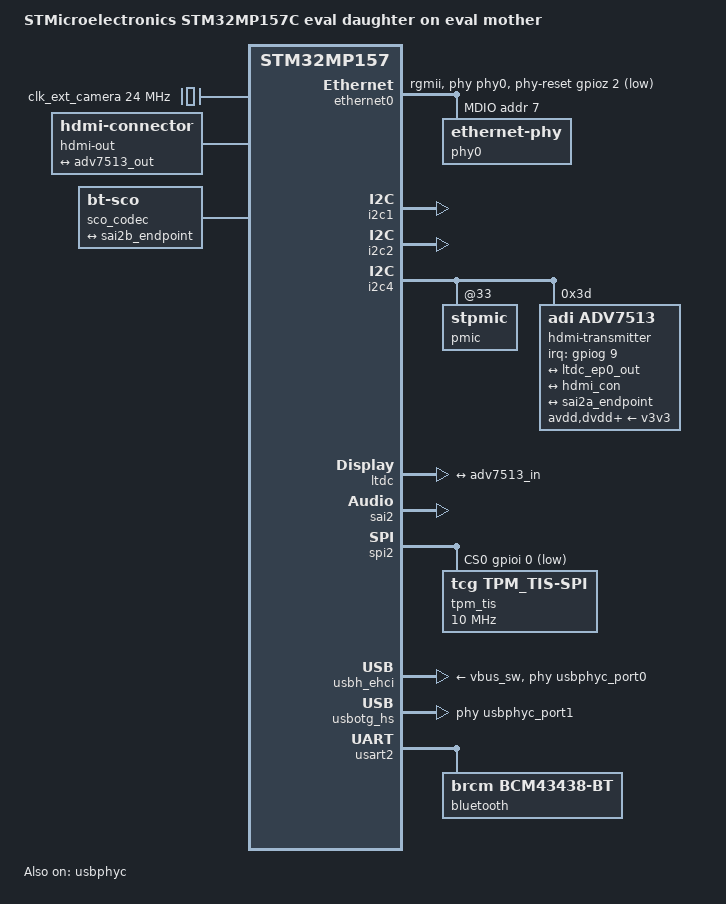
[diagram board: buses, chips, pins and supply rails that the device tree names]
// SPDX-License-Identifier: (GPL-2.0+ OR BSD-3-Clause)
/*
 * Copyright (C) STMicroelectronics 2017 - All Rights Reserved
 * Author: Ludovic Barre <ludovic.barre@st.com> for STMicroelectronics.
 */
/dts-v1/;

#include "stm32mp157a-av96.dtsi"
#include <dt-bindings/input/input.h>
#include <dt-bindings/gpio/gpio.h>
#include <dt-bindings/soc/stm32-hdp.h>

/ {
	model = "STMicroelectronics STM32MP157C eval daughter on eval mother";
	compatible = "st,stm32mp157c-ev1", "st,stm32mp157c-ed1", "st,stm32mp157";

	chosen {
		stdout-path = "serial0:115200n8";
	};

	aliases {
		serial1 = &usart2;
		ethernet0 = &ethernet0;
	};

	clocks {
		clk_ext_camera: clk-ext-camera {
			#clock-cells = <0>;
			compatible = "fixed-clock";
			clock-frequency = <24000000>;
		};
	};

#if 0
	joystick {
		compatible = "gpio-keys";
		#size-cells = <0>;
		pinctrl-0 = <&joystick_pins>;
		pinctrl-names = "default";
		button-0 {
			label = "JoySel";
			linux,code = <KEY_ENTER>;
			interrupt-parent = <&stmfx_pinctrl>;
			interrupts = <0 IRQ_TYPE_EDGE_RISING>;
		};
		button-1 {
			label = "JoyDown";
			linux,code = <KEY_DOWN>;
			interrupt-parent = <&stmfx_pinctrl>;
			interrupts = <1 IRQ_TYPE_EDGE_RISING>;
		};
		button-2 {
			label = "JoyLeft";
			linux,code = <KEY_LEFT>;
			interrupt-parent = <&stmfx_pinctrl>;
			interrupts = <2 IRQ_TYPE_EDGE_RISING>;
		};
		button-3 {
			label = "JoyRight";
			linux,code = <KEY_RIGHT>;
			interrupt-parent = <&stmfx_pinctrl>;
			interrupts = <3 IRQ_TYPE_EDGE_RISING>;
		};
		button-4 {
			label = "JoyUp";
			linux,code = <KEY_UP>;
			interrupt-parent = <&stmfx_pinctrl>;
			interrupts = <4 IRQ_TYPE_EDGE_RISING>;
		};
	};

	panel_backlight: panel-backlight {
		compatible = "gpio-backlight";
		gpios = <&gpiod 13 GPIO_ACTIVE_LOW>;
		default-on;
		status = "okay";
	};

	spdif_out: spdif-out {
		#sound-dai-cells = <0>;
		compatible = "linux,spdif-dit";
		status = "okay";

		spdif_out_port: port {
			spdif_out_endpoint: endpoint {
				remote-endpoint = <&sai4a_endpoint>;
			};
		};
	};

	spdif_in: spdif-in {
		#sound-dai-cells = <0>;
		compatible = "linux,spdif-dir";
		status = "okay";

		spdif_in_port: port {
			spdif_in_endpoint: endpoint {
				remote-endpoint = <&spdifrx_endpoint>;
			};
		};
	};

	sound {
		compatible = "audio-graph-card";
		label = "STM32MP1-EV";
		routing =
			"AIF1CLK" , "MCLK1",
			"AIF2CLK" , "MCLK1",
			"IN1LN" , "MICBIAS2",
			"DMIC2DAT" , "MICBIAS1",
			"DMIC1DAT" , "MICBIAS1";
		dais = <&sai2a_port &sai2b_port &sai4a_port &spdifrx_port
			&dfsdm0_port &dfsdm1_port &dfsdm2_port &dfsdm3_port>;
		status = "okay";
	};

	dmic0: dmic-0 {
		compatible = "dmic-codec";
		#sound-dai-cells = <1>;
		status = "okay";

		port {
			dmic0_endpoint: endpoint {
				remote-endpoint = <&dfsdm_endpoint0>;
			};
		};
	};

	dmic1: dmic-1 {
		compatible = "dmic-codec";
		#sound-dai-cells = <1>;
		status = "okay";

		port {
			dmic1_endpoint: endpoint {
				remote-endpoint = <&dfsdm_endpoint1>;
			};
		};
	};

	dmic2: dmic-2 {
		compatible = "dmic-codec";
		#sound-dai-cells = <1>;
		status = "okay";

		port {
			dmic2_endpoint: endpoint {
				remote-endpoint = <&dfsdm_endpoint2>;
			};
		};
	};

	dmic3: dmic-3 {
		compatible = "dmic-codec";
		#sound-dai-cells = <1>;
		status = "okay";

		port {
			dmic3_endpoint: endpoint {
				remote-endpoint = <&dfsdm_endpoint3>;
			};
		};
	};
#endif

	hdmi-out {
		compatible = "hdmi-connector";
		type = "a";

		port {
			hdmi_con: endpoint {
				remote-endpoint = <&adv7513_out>;
			};
		};
	};

	sco_codec: bt_sco {
		compatible = "linux,bt-sco";
		status = "okay";

		ports {
			#address-cells = <1>;
			#size-cells = <0>;
#if 0
			bt_tx_port: port@0 {
				bt_tx_endpoint: endpoint {
					remote-endpoint = <&sai2a_endpoint>;
					dai-format = "i2s";
				};
			};
#endif
			bt_rx_port: port@1 {
				bt_rx_endpoint: endpoint {
					remote-endpoint = <&sai2b_endpoint>;
					dai-format = "i2s";
				};
			};
		};
	};

	sound {
		compatible = "audio-graph-card";
		label = "STM32MP1-AV96";
		routing =
			"Playback" , "MCLK",
			"Capture" , "MCLK",
			"MICL" , "Mic Bias";
		dais = <&sai2a_port &sai2b_port>;
		status = "okay";
	};

	usb_phy_tuning: usb-phy-tuning {
		st,hs-dc-level = <2>;
		st,fs-rftime-tuning;
		st,hs-rftime-reduction;
		st,hs-current-trim = <15>;
		st,hs-impedance-trim = <1>;
		st,squelch-level = <3>;
		st,hs-rx-offset = <2>;
		st,no-lsfs-sc;
	};
};

#if 0
&cec {
	pinctrl-names = "default", "sleep";
	pinctrl-0 = <&cec_pins_a>;
	pinctrl-1 = <&cec_pins_sleep_a>;
};

&dcmi {
	status = "okay";
	pinctrl-names = "default", "sleep";
	pinctrl-0 = <&dcmi_pins_a>;
	pinctrl-1 = <&dcmi_sleep_pins_a>;

	port {
		dcmi_0: endpoint {
			remote-endpoint = <&ov5640_0>;
			bus-width = <8>;
			hsync-active = <0>;
			vsync-active = <0>;
			pclk-sample = <1>;
			pclk-max-frequency = <77000000>;
		};
	};
};

&dfsdm {
	pinctrl-names = "default", "sleep";
	pinctrl-0 = <&dfsdm_clkout_pins_a
		     &dfsdm_data1_pins_a &dfsdm_data3_pins_a>;
	pinctrl-1 = <&dfsdm_clkout_sleep_pins_a
		     &dfsdm_data1_sleep_pins_a &dfsdm_data3_sleep_pins_a>;
	spi-max-frequency = <2048000>;

	clocks = <&rcc DFSDM_K>, <&rcc ADFSDM_K>;
	clock-names = "dfsdm", "audio";
	status = "okay";

	dfsdm0: filter@0 {
		compatible = "st,stm32-dfsdm-dmic";
		st,adc-channels = <3>;
		st,adc-channel-names = "dmic_u1";
		st,adc-channel-types = "SPI_R";
		st,adc-channel-clk-src = "CLKOUT";
		st,filter-order = <3>;
		status = "okay";

		asoc_pdm0: dfsdm-dai {
			compatible = "st,stm32h7-dfsdm-dai";
			#sound-dai-cells = <0>;
			io-channels = <&dfsdm0 0>;
			status = "okay";

			dfsdm0_port: port {
				dfsdm_endpoint0: endpoint {
					remote-endpoint = <&dmic0_endpoint>;
				};
			};
		};
	};

	dfsdm1: filter@1 {
		compatible = "st,stm32-dfsdm-dmic";
		st,adc-channels = <1>;
		st,adc-channel-names = "dmic_u2";
		st,adc-channel-types = "SPI_F";
		st,adc-channel-clk-src = "CLKOUT";
		st,filter-order = <3>;
		status = "okay";

		asoc_pdm1: dfsdm-dai {
			compatible = "st,stm32h7-dfsdm-dai";
			#sound-dai-cells = <0>;
			io-channels = <&dfsdm1 0>;
			status = "okay";

			dfsdm1_port: port {
				dfsdm_endpoint1: endpoint {
					remote-endpoint = <&dmic1_endpoint>;
				};
			};
		};
	};

	dfsdm2: filter@2 {
		compatible = "st,stm32-dfsdm-dmic";
		st,adc-channels = <3>;
		st,adc-channel-names = "dmic_u3";
		st,adc-channel-types = "SPI_F";
		st,adc-channel-clk-src = "CLKOUT";
		st,filter-order = <3>;
		status = "okay";

		asoc_pdm2: dfsdm-dai {
			compatible = "st,stm32h7-dfsdm-dai";
			#sound-dai-cells = <0>;
			io-channels = <&dfsdm2 0>;
			status = "okay";

			dfsdm2_port: port {
				dfsdm_endpoint2: endpoint {
					remote-endpoint = <&dmic2_endpoint>;
				};
			};
		};
	};

	dfsdm3: filter@3 {
		compatible = "st,stm32-dfsdm-dmic";
		st,adc-channels = <1>;
		st,adc-channel-names = "dmic_u4";
		st,adc-channel-types = "SPI_R";
		st,adc-channel-clk-src = "CLKOUT";
		st,filter-order = <3>;
		status = "okay";

		asoc_pdm3: dfsdm-dai {
			compatible = "st,stm32h7-dfsdm-dai";
			#sound-dai-cells = <0>;
			io-channels = <&dfsdm3 0>;
			status = "okay";

			dfsdm3_port: port {
				dfsdm_endpoint3: endpoint {
					remote-endpoint = <&dmic3_endpoint>;
				};
			};
		};
	};
};

&dsi {
	#address-cells = <1>;
	#size-cells = <0>;
	status = "okay";

	ports {
		#address-cells = <1>;
		#size-cells = <0>;

		port@0 {
			reg = <0>;
			dsi_in: endpoint {
				remote-endpoint = <&ltdc_ep0_out>;
			};
		};

		port@1 {
			reg = <1>;
			dsi_out: endpoint {
				remote-endpoint = <&dsi_panel_in>;
			};
		};
	};

	panel-dsi@0 {
		compatible = "raydium,rm68200";
		reg = <0>;
		reset-gpios = <&gpiof 15 GPIO_ACTIVE_LOW>;
		power-supply = <&v1v8>;
		backlight = <&panel_backlight>;
		status = "okay";

		port {
			dsi_panel_in: endpoint {
				remote-endpoint = <&dsi_out>;
			};
		};
	};
};
#endif

&ethernet0 {
	status = "okay";
	pinctrl-0 = <&ethernet0_rgmii_pins_a>;
	pinctrl-1 = <&ethernet0_rgmii_pins_sleep_a>;
	pinctrl-names = "default", "sleep";
	phy-mode = "rgmii";
	max-speed = <1000>;
	phy-handle = <&phy0>;

	phy-reset-gpios = <&gpioz 2 GPIO_ACTIVE_LOW>;

	mdio0 {
		#address-cells = <1>;
		#size-cells = <0>;
		compatible = "snps,dwmac-mdio";
		phy0: ethernet-phy@7 {
			reg = <7>;

			rxc-skew-ps = <1500>;
			rxdv-skew-ps = <540>;
			rxd0-skew-ps = <420>;
			rxd1-skew-ps = <420>;
			rxd2-skew-ps = <420>;
			rxd3-skew-ps = <420>;

			txc-skew-ps = <1440>;
			txen-skew-ps = <540>;
			txd0-skew-ps = <420>;
			txd1-skew-ps = <420>;
			txd2-skew-ps = <420>;
			txd3-skew-ps = <420>;
		};
	};
};

#if 0
&fmc {
	pinctrl-names = "default", "sleep";
	pinctrl-0 = <&fmc_pins_a>;
	pinctrl-1 = <&fmc_sleep_pins_a>;
	status = "okay";
	#address-cells = <1>;
	#size-cells = <0>;

	nand: nand@0 {
		reg = <0>;
		nand-on-flash-bbt;
		#address-cells = <1>;
		#size-cells = <1>;
	};
};

&hdp {
	pinctrl-names = "default", "sleep";
	pinctrl-0 = <&hdp0_pins_a &hdp6_pins_a &hdp7_pins_a>;
	pinctrl-1 = <&hdp0_pins_sleep_a &hdp6_pins_sleep_a &hdp7_pins_sleep_a>;
	status = "disabled";

	muxing-hdp = <(STM32_HDP(0, HDP0_GPOVAL_0) |
		       STM32_HDP(6, HDP6_GPOVAL_6) |
		       STM32_HDP(7, HDP7_GPOVAL_7))>;
};
#endif

&i2c1 {
	pinctrl-names = "default", "sleep";
	pinctrl-0 = <&i2c1_pins_a>;
	pinctrl-1 = <&i2c1_pins_sleep_a>;
	i2c-scl-rising-time-ns = <185>;
	i2c-scl-falling-time-ns = <20>;
	status = "okay";
};

&i2c2 {
	pinctrl-names = "default", "sleep";
	pinctrl-0 = <&i2c2_pins_a>;
	pinctrl-1 = <&i2c2_pins_sleep_a>;
	i2c-scl-rising-time-ns = <185>;
	i2c-scl-falling-time-ns = <20>;
	status = "okay";
	/delete-property/dmas;
	/delete-property/dma-names;

#if 0
	ov5640: camera@3c {
		compatible = "ovti,ov5640";
		reg = <0x3c>;
		clocks = <&clk_ext_camera>;
		clock-names = "xclk";
		DOVDD-supply = <&v1v8>;
		status = "okay";
		powerdown-gpios = <&gpiob 5 GPIO_ACTIVE_HIGH>;
		reset-gpios = <&gpioa 12 GPIO_ACTIVE_LOW>;
		rotation = <180>;

		port {
			ov5640_0: endpoint {
				remote-endpoint = <&dcmi_0>;
				clock-lanes = <1>;
				data-lanes = <0 2>;
			};
		};
	};

	wm8994: wm8994@1b {
		compatible = "wlf,wm8994";
		#sound-dai-cells = <0>;
		reg = <0x1b>;
		status = "okay";

		gpio-controller;
		#gpio-cells = <2>;

		DBVDD-supply = <&vdd>;
		SPKVDD1-supply = <&vdd>;
		SPKVDD2-supply = <&vdd>;
		AVDD2-supply = <&v1v8>;
		CPVDD-supply = <&v1v8>;

		wlf,ldoena-always-driven;

		clocks = <&sai2a>;
		clock-names = "MCLK1";

		wlf,gpio-cfg = <0x8101 0xa100 0xa100 0xa100 0xa101 0xa101 0xa100 0xa101 0xa101 0xa101 0xa101>;

		ports {
			#address-cells = <1>;
			#size-cells = <0>;

			wm8994_tx_port: port@0 {
				reg = <0>;
				wm8994_tx_endpoint: endpoint {
					remote-endpoint = <&sai2a_endpoint>;
				};
			};

			wm8994_rx_port: port@1 {
				reg = <1>;
				wm8994_rx_endpoint: endpoint {
					remote-endpoint = <&sai2b_endpoint>;
				};
			};
		};
	};

	stmfx: stmfx@42 {
		compatible = "st,stmfx-0300";
		reg = <0x42>;
		interrupts = <8 IRQ_TYPE_EDGE_RISING>;
		interrupt-parent = <&gpioi>;
		vdd-supply = <&v3v3>;

		stmfx_pinctrl: stmfx-pin-controller {
			compatible = "st,stmfx-0300-pinctrl";
			gpio-controller;
			#gpio-cells = <2>;
			interrupt-controller;
			#interrupt-cells = <2>;
			gpio-ranges = <&stmfx_pinctrl 0 0 24>;
			pinctrl-names = "default";
			pinctrl-0 = <&hog_pins>;

			hog_pins: hog {
				pins = "gpio14";
				drive-push-pull;
				bias-pull-down;
			};

			joystick_pins: joystick {
				pins = "gpio0", "gpio1", "gpio2", "gpio3", "gpio4";
				drive-push-pull;
				bias-pull-down;
			};

			ov5640_pins: camera {
				pins = "agpio2", "agpio3"; /* stmfx pins 18 & 19 */
				drive-push-pull;
				output-low;
			};
		};
	};

	gt9147: goodix_ts@5d {
		compatible = "goodix,gt9147";
		reg = <0x5d>;
		status = "okay";

		irq-gpios = <&stmfx_pinctrl 14 GPIO_ACTIVE_HIGH>;
		irq-flags = <IRQ_TYPE_EDGE_RISING>;
	};
#endif
};

&i2c4 {
	pmic: stpmic@33 {
		regulators {
			v1v8: ldo6 {
				regulator-enable-ramp-delay = <300000>;
			};
		};
	};

	hdmi-transmitter@3d {
		compatible = "adi,adv7513";
		reg = <0x3d>;

		avdd-supply = <&v3v3>;
		dvdd-supply = <&v3v3>;
		pvdd-supply = <&v3v3>;
		dvdd-3v-supply = <&v3v3>;
		bgvdd-supply = <&v3v3>;

		interrupts = <9 IRQ_TYPE_EDGE_FALLING>;
		interrupt-parent = <&gpiog>;

		pinctrl-names = "default", "sleep";
		pinctrl-0 = <&ltdc_pins_a>;
		pinctrl-1 = <&ltdc_pins_sleep_a>;
		status = "okay";

		adi,input-depth = <8>;
		adi,input-colorspace = "rgb";
		adi,input-clock = "1x";
		adi,input-style = <1>;
		adi,input-justification = "evenly";

		ports {
			#address-cells = <1>;
			#size-cells = <0>;

			port@0 {
				reg = <0>;
				adv7513_in: endpoint {
					remote-endpoint = <&ltdc_ep0_out>;
				};
			};

			port@1 {
				reg = <1>;
				adv7513_out: endpoint {
					remote-endpoint = <&hdmi_con>;
				};
			};
#if 1
			port@2 {
				reg = <2>;
				adv7513_i2s0: endpoint {
					remote-endpoint = <&sai2a_endpoint>;
				};
			};
#endif
		};
	};
};

#if 0
&i2c5 {
	pinctrl-names = "default", "sleep";
	pinctrl-0 = <&i2c5_pins_a>;
	pinctrl-1 = <&i2c5_pins_sleep_a>;
	i2c-scl-rising-time-ns = <185>;
	i2c-scl-falling-time-ns = <20>;
	/delete-property/dmas;
	/delete-property/dma-names;
};
#endif

&ltdc {
	status = "okay";

	port {
		#address-cells = <1>;
		#size-cells = <0>;

		ltdc_ep0_out: endpoint@0 {
			reg = <0>;
			remote-endpoint = <&adv7513_in>;
		};
	};
};

#if 0
&m_can1 {
	pinctrl-names = "default", "sleep";
	pinctrl-0 = <&m_can1_pins_a>;
	pinctrl-1 = <&m_can1_sleep_pins_a>;
	status = "okay";
};
#endif

#if 0
&qspi {
	pinctrl-names = "default", "sleep";
	pinctrl-0 = <&qspi_clk_pins_a &qspi_bk1_pins_a &qspi_bk2_pins_a>;
	pinctrl-1 = <&qspi_clk_sleep_pins_a &qspi_bk1_sleep_pins_a &qspi_bk2_sleep_pins_a>;
	reg = <0x58003000 0x1000>, <0x70000000 0x4000000>;
	#address-cells = <1>;
	#size-cells = <0>;
	status = "okay";

	flash0: mx66l51235l@0 {
		compatible = "jedec,spi-nor";
		reg = <0>;
		spi-rx-bus-width = <4>;
		spi-max-frequency = <108000000>;
		#address-cells = <1>;
		#size-cells = <1>;
	};

	flash1: mx66l51235l@1 {
		compatible = "jedec,spi-nor";
		reg = <1>;
		spi-rx-bus-width = <4>;
		spi-max-frequency = <108000000>;
		#address-cells = <1>;
		#size-cells = <1>;
	};
};
#endif

&sai2 {
	clocks = <&rcc SAI2>, <&rcc PLL3_Q>, <&rcc PLL3_R>;
	pinctrl-names = "default", "sleep";
	pinctrl-0 = <&sai2a_pins_a>, <&sai2b_pins_b>;
	pinctrl-1 = <&sai2a_sleep_pins_a>, <&sai2b_sleep_pins_b>;
	clock-names = "pclk", "x8k", "x11k";
	status = "okay";

	sai2a: audio-controller@4400b004 {
		#clock-cells = <0>;
		dma-names = "tx";
		clocks = <&rcc SAI2_K>;
		clock-names = "sai_ck";
		status = "okay";

		sai2a_port: port {
			sai2a_endpoint: endpoint {
#if 0
				remote-endpoint = <&bt_tx_endpoint>;
#else
				remote-endpoint = <&adv7513_i2s0>;
#endif
				format = "i2s";
				mclk-fs = <256>;
			};
		};
	};

	sai2b: audio-controller@4400b024 {
		#clock-cells = <0>;
		dma-names = "rx";
		clocks = <&rcc SAI2_K>;
		clock-names = "sai_ck";
		status = "okay";

		sai2b_port: port {
			sai2b_endpoint: endpoint {
				remote-endpoint = <&bt_rx_endpoint>;
				format = "i2s";
				mclk-fs = <256>;
			};
		};
	};
};

#if 0
&sai4 {
	clocks = <&rcc SAI4>, <&rcc PLL3_Q>, <&rcc PLL3_R>;
	clock-names = "pclk", "x8k", "x11k";
	status = "okay";

	sai4a: audio-controller@50027004 {
		pinctrl-names = "default", "sleep";
		pinctrl-0 = <&sai4a_pins_a>;
		pinctrl-1 = <&sai4a_sleep_pins_a>;
		dma-names = "tx";
		clocks = <&rcc SAI4_K>;
		clock-names = "sai_ck";
		st,iec60958;
		status = "okay";

		sai4a_port: port {
			sai4a_endpoint: endpoint {
				remote-endpoint = <&spdif_out_endpoint>;
			};
		};
	};
};
#endif

#if 0
&sdmmc3 {
	pinctrl-names = "default", "opendrain", "sleep";
	pinctrl-0 = <&sdmmc3_b4_pins_a>;
	pinctrl-1 = <&sdmmc3_b4_od_pins_a>;
	pinctrl-2 = <&sdmmc3_b4_sleep_pins_a>;
	vmmc-supply = <&v3v3>;
	broken-cd;
	st,neg-edge;
	bus-width = <4>;
	status = "disabled";
};

&spdifrx {
	pinctrl-names = "default", "sleep";
	pinctrl-0 = <&spdifrx_pins_a>;
	pinctrl-1 = <&spdifrx_sleep_pins_a>;
	status = "okay";

	spdifrx_port: port {
		spdifrx_endpoint: endpoint {
			remote-endpoint = <&spdif_in_endpoint>;
		};
	};
};
#endif

&spi1 {
	pinctrl-names = "default", "sleep";
	pinctrl-0 = <&spi1_pins_a>;
	pinctrl-1 = <&spi1_sleep_pins_a>;
	status = "disabled";
};

&spi2 {
	pinctrl-names = "default", "sleep";
	pinctrl-0 = <&spi2_pins_a>;
	pinctrl-1 = <&spi2_sleep_pins_a>;
	status = "okay";
	cs-gpios = <&gpioi 0 GPIO_ACTIVE_LOW>;

	tpm_tis@0 {
		compatible = "tcg,tpm_tis-spi";
		reg = <0>;
		spi-max-frequency = <10000000>;
	};
};

#if 0
&timers2 {
	status = "disabled";
	/* spare dmas for other usage (un-delete to enable pwm capture) */
	/delete-property/dmas;
	/delete-property/dma-names;
	pwm {
		pinctrl-0 = <&pwm2_pins_a>;
		pinctrl-1 = <&pwm2_sleep_pins_a>;
		pinctrl-names = "default", "sleep";
		status = "okay";
	};
	timer@1 {
		status = "okay";
	};
};

&timers8 {
	status = "disabled";
	/delete-property/dmas;
	/delete-property/dma-names;
	pwm {
		pinctrl-0 = <&pwm8_pins_a>;
		pinctrl-1 = <&pwm8_sleep_pins_a>;
		pinctrl-names = "default", "sleep";
		status = "okay";
	};
	timer@7 {
		status = "okay";
	};
};

&timers12 {
	status = "disabled";
	/delete-property/dmas;
	/delete-property/dma-names;
	pwm {
		pinctrl-0 = <&pwm12_pins_a>;
		pinctrl-1 = <&pwm12_sleep_pins_a>;
		pinctrl-names = "default", "sleep";
		status = "okay";
	};
	timer@11 {
		status = "okay";
	};
};

&usart3 {
	pinctrl-names = "default", "sleep", "idle";
	pinctrl-0 = <&usart3_pins_a>;
	pinctrl-1 = <&usart3_sleep_pins_a>;
	pinctrl-2 = <&usart3_idle_pins_a>;
	status = "disabled";
};
#endif

&usbh_ehci {
	phys = <&usbphyc_port0>;
	phy-names = "usb";
	vbus-supply = <&vbus_sw>;
	status = "okay";
};

&usbotg_hs {
	pinctrl-names = "default";
	pinctrl-0 = <&usbotg_hs_pins_a>;
	phys = <&usbphyc_port1 0>;
	phy-names = "usb2-phy";
	status = "okay";
};

&usbphyc {
	status = "okay";
};

&usbphyc_port0 {
	st,phy-tuning = <&usb_phy_tuning>;
};

&usbphyc_port1 {
	st,phy-tuning = <&usb_phy_tuning>;
};

&m4_rproc {
	m4_system_resources {
		compatible = "rproc-srm-core";
		status = "okay";

		m4_led: m4_led {
			compatible = "rproc-srm-dev";
			pinctrl-names = "rproc_default", "rproc_sleep";
			pinctrl-0 = <&leds_led3_pins>;
			pinctrl-1 = <&leds_led3_sleep_pins>;
			status = "okay";
		};
	};
};

/* Bluetooth */
&usart2 {
	pinctrl-names = "default", "sleep", "idle";
	pinctrl-0 = <&usart2_pins_a>;
	pinctrl-1 = <&usart2_sleep_pins_a>;
	pinctrl-2 = <&usart2_idle_pins_a>;
	st,hw-flow-ctrl;
	status = "okay";

	bluetooth {
		pinctrl-names = "default";
		pinctrl-0 = <&btreg>;
		compatible = "brcm,bcm43438-bt";
		max-speed = <3000000>;
	};
};
